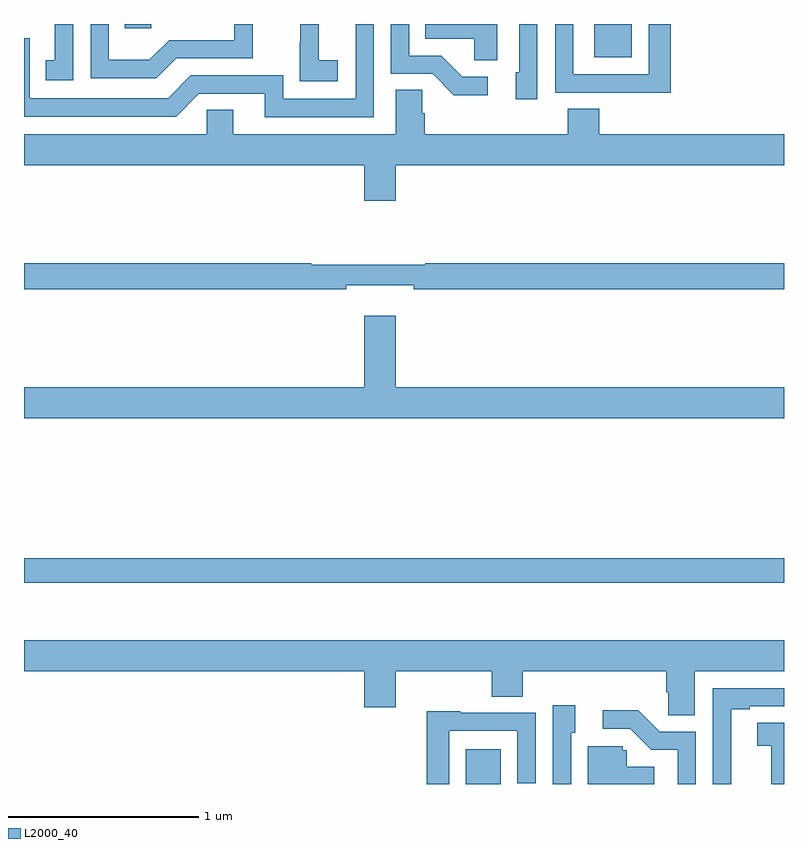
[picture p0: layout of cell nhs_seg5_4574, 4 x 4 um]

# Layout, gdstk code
import gdstk
lib = gdstk.Library(unit=1e-6, precision=1e-09)
def R(c, l, rs):  # rectangles x0, y0, x1, y1
    for r in rs: c.add(gdstk.rectangle(r[:2], r[2:], *l))
def P(c, l, *ps):  # polygons
    for p in ps: c.add(gdstk.Polygon(p, *l))
L2000_40 = (2000, 40)

nhs_seg5_4574 = lib.new_cell('nhs_seg5_4574')
R(nhs_seg5_4574, L2000_40, [(381.326,890.799,381.508,890.983), (379,891.858,383,891.986), (382.001,894.623,382.198,894.799), (379.531,894.777,379.671,894.799)])
P(nhs_seg5_4574, L2000_40, [(382.403,894.799),(382.287,894.799),(382.287,894.534),(381.891,894.534),(381.891,894.799),(381.795,894.799),(381.795,894.438),(382.111,894.438),(382.111,894.437),(382.403,894.437)],
  [(379.26,894.799),(379.163,894.799),(379.163,894.609),(379.114,894.609),(379.114,894.504),(379.26,894.504)],
  [(380.65,894.607),(380.552,894.607),(380.552,894.799),(380.453,894.799),(380.453,894.703),(380.452,894.703),(380.452,894.497),(380.65,894.497)],
  [(380.841,894.799),(380.745,894.799),(380.745,894.405),(380.364,894.405),(380.364,894.528),(379.878,894.528),(379.758,894.408),(379.029,894.408),(379.029,894.723),(379,894.723),(379,894.312),(379.8,894.312),(379.92,894.432),(380.267,894.432),(380.267,894.309),(380.841,894.309)],
  [(381.49,894.799),(381.112,894.799),(381.112,894.722),(381.369,894.722),(381.369,894.607),(381.49,894.607)],
  [(381.702,894.799),(381.606,894.799),(381.606,894.546),(381.587,894.546),(381.587,894.402),(381.702,894.402)],
  [(379.801,894.618),(380.205,894.618),(380.205,894.799),(380.106,894.799),(380.106,894.714),(379.764,894.714),(379.66,894.61),(379.446,894.61),(379.446,894.799),(379.35,894.799),(379.35,894.513),(379.696,894.513)],
  [(381.442,894.522),(381.307,894.522),(381.196,894.633),(381.027,894.633),(381.027,894.799),(380.931,894.799),(380.931,894.537),(381.15,894.537),(381.263,894.425),(381.442,894.425)],
  [(380.956,894.056),(383,894.056),(383,894.22),(382.028,894.22),(382.028,894.353),(381.863,894.353),(381.863,894.22),(381.11,894.22),(381.11,894.329),(381.096,894.329),(381.096,894.452),(380.957,894.452),(380.957,894.22),(380.101,894.22),(380.101,894.347),(379.962,894.347),(379.962,894.22),(379,894.22),(379,894.056),(380.792,894.056),(380.792,893.868),(380.956,893.868)],
  [(380.696,893.423),(381.052,893.423),(381.052,893.404),(383,893.404),(383,893.54),(381.113,893.54),(381.113,893.533),(380.513,893.533),(380.513,893.54),(379,893.54),(379,893.404),(380.696,893.404)],
  [(383,892.888),(380.956,892.888),(380.956,893.263),(380.792,893.263),(380.792,892.888),(379,892.888),(379,892.724),(383,892.724)],
  [(382.531,891.392),(383,891.392),(383,891.556),(379,891.556),(379,891.392),(380.792,891.392),(380.792,891.204),(380.956,891.204),(380.956,891.392),(381.461,891.392),(381.461,891.259),(381.626,891.259),(381.626,891.392),(382.379,891.392),(382.379,891.283),(382.392,891.283),(382.392,891.16),(382.531,891.16)],
  [(382.723,891.192),(382.819,891.192),(382.819,891.207),(383,891.207),(383,891.303),(382.626,891.303),(382.626,890.799),(382.723,890.799)],
  [(381.879,891.069),(381.901,891.069),(381.901,891.214),(381.783,891.214),(381.783,890.799),(381.879,890.799)],
  [(382.536,891.075),(382.347,891.075),(382.234,891.188),(382.047,891.188),(382.047,891.09),(382.191,891.09),(382.302,890.979),(382.44,890.979),(382.44,890.799),(382.536,890.799)],
  [(381.237,891.078),(381.597,891.078),(381.597,890.802),(381.693,890.802),(381.693,891.174),(381.297,891.174),(381.297,891.181),(381.121,891.181),(381.121,890.799),(381.237,890.799)],
  [(383,891.122),(382.86,891.122),(382.86,891.001),(382.934,891.001),(382.934,890.803),(382.935,890.803),(382.935,890.799),(383,890.799)],
  [(382.318,890.89),(382.173,890.89),(382.173,890.976),(382.152,890.976),(382.152,890.997),(381.968,890.997),(381.968,890.799),(382.318,890.799)])

lib.write_gds('nhs_seg5_4574.gds')
